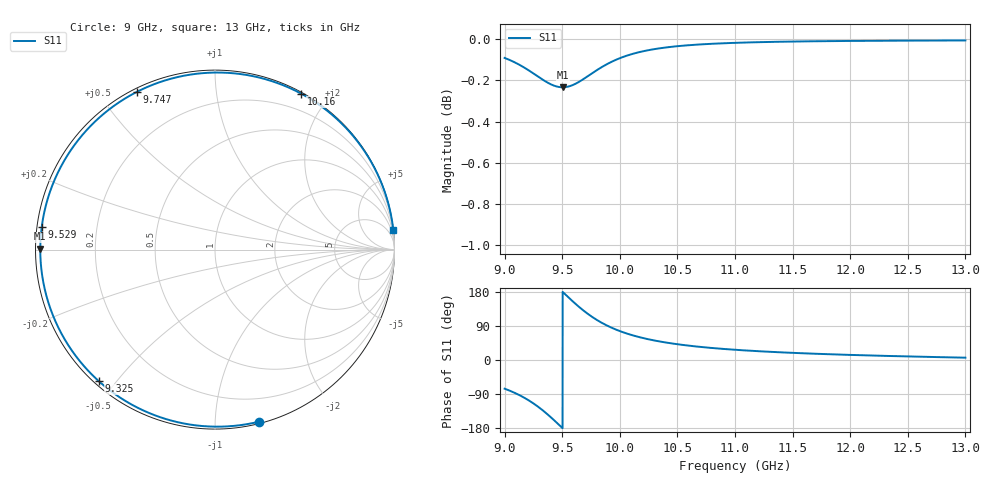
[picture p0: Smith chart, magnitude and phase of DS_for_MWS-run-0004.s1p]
! TOUCHSTONE file generated by CST DESIGN STUDIO
! Date and time: Wed Feb  5 13:28:55 2025
! Project name: C:\Work\MatlabApps\UnitCellOptimizationMatlab\CST\unitcell.cst
! Tree item: Tasks\Sweep1\SPara1\S-Parameters
! Header version: 2024
! Port assignment regex: !\s*Touchstone port\s*([0-9]+)\s*=\s*(CST MWS port|CST DES external port|CST DES block port)\s*(.+)\s* \(\"(.*)\"\)(\s*mode\s*([0-9]+))?.*
! Touchstone port assignment:
! Touchstone port 1 = CST DES external port 1 ("")
# GHz S MA R 50
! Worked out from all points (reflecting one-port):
!   4001 points, 9 GHz to 13 GHz, reference 50 ohm
!   lowest |S11| = -0.2 dB at 9.504 GHz (marker M1), VSWR 74.52, Z = 0.671 + j0.117 ohm
!   phase of S11 starts at -76 deg and turns -278 deg over the sweep
!   S11 on the Smith chart (normalised r, x): 9 GHz: 0.01, -1.29; 9.325 GHz: 0.01, -0.45; 9.529 GHz: 0.01, +0.07; 9.747 GHz: 0.01, +0.62; 10.16 GHz: 0.01, +1.70; 13 GHz: 0, +19
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9  0.9896 -75.7
9.085  0.9873 -86.3
9.187  0.9837 -102.4
9.259  0.9807 -116.4
9.325  0.9779 -131.4
9.372  0.9761 -143.2
9.421  0.9746 -156.5
9.461  0.9738 -167.8
9.5  0.9735 -179.1
9.504  0.9735 179.7
9.529  0.9736 172.5
9.583  0.9745 157.1
9.643  0.9764 140.9
9.694  0.9784 128.3
9.747  0.9807 116.4
9.799  0.9828 106.0
9.857  0.9851 95.9
9.928  0.9875 85.3
10  0.9895 76.3
10.161  0.9927 61.0
10.315  0.9947 50.6
10.5  0.9962 41.6
10.722  0.9972 33.9
11  0.998 27.0
11.5  0.9988 18.8
12  0.9991 13.4
12.5  0.9993 9.4
13  0.9994 6.1
